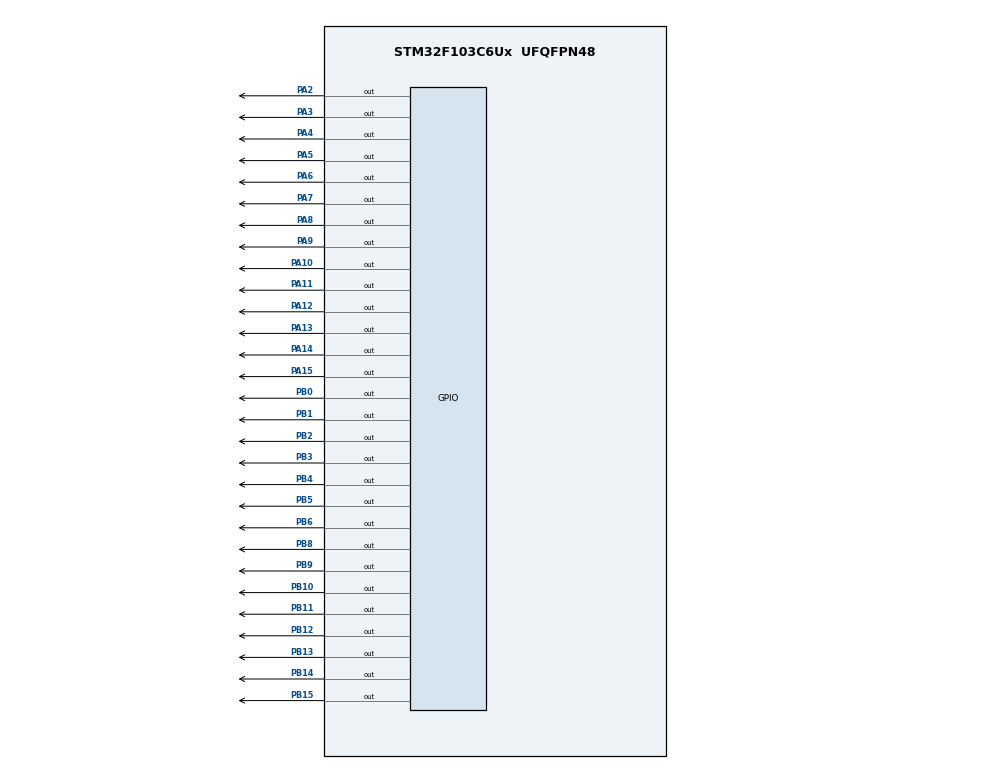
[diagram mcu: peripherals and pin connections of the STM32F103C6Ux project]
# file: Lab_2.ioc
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Mcu.Family=STM32F1
Mcu.Name=STM32F103C6Ux
Mcu.Package=UFQFPN48
NVIC.PriorityGroup=NVIC_PRIORITYGROUP_4
NVIC.TIM2_IRQn=true\:0\:0\:false\:false\:true\:true\:true
PA10.Signal=GPIO_Output
PA11.Signal=GPIO_Output
PA12.Signal=GPIO_Output
PA13.Signal=GPIO_Output
PA14.Signal=GPIO_Output
PA15.Signal=GPIO_Output
PA2.Signal=GPIO_Output
PA3.Signal=GPIO_Output
PA4.Signal=GPIO_Output
PA5.Signal=GPIO_Output
PA6.Signal=GPIO_Output
PA7.Signal=GPIO_Output
PA8.Signal=GPIO_Output
PA9.Signal=GPIO_Output
PB0.Signal=GPIO_Output
PB1.Signal=GPIO_Output
PB10.Signal=GPIO_Output
PB11.Signal=GPIO_Output
PB12.Signal=GPIO_Output
PB13.Signal=GPIO_Output
PB14.Signal=GPIO_Output
PB15.Signal=GPIO_Output
PB2.Signal=GPIO_Output
PB3.Signal=GPIO_Output
PB4.Signal=GPIO_Output
PB5.Signal=GPIO_Output
PB6.Signal=GPIO_Output
PB8.Signal=GPIO_Output
PB9.Signal=GPIO_Output
ProjectManager.HeapSize=0x200
ProjectManager.StackSize=0x400
ProjectManager.TargetToolchain=STM32CubeIDE
RCC.APB1Freq_Value=8000000
RCC.APB2Freq_Value=8000000
TIM2.Period=9
TIM2.Prescaler=7999
VP_SYS_VS_ND.Mode=No_Debug
VP_TIM2_VS_ClockSourceINT.Mode=Internal
board=custom

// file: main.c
/* USER CODE BEGIN Header */
/**
  ******************************************************************************
  * @file           : main.c
  * @brief          : Main program body
  ******************************************************************************
  * @attention
  *
  * <h2><center>&copy; Copyright (c) 2024 STMicroelectronics.
  * All rights reserved.</center></h2>
  *
  * This software component is licensed by ST under BSD 3-Clause license,
  * the "License"; You may not use this file except in compliance with the
  * License. You may obtain a copy of the License at:
  *                        opensource.org/licenses/BSD-3-Clause
  *
  ******************************************************************************
  */
/* USER CODE END Header */
#include "main.h"

TIM_HandleTypeDef htim2;

void SystemClock_Config(void);
static void MX_GPIO_Init(void);
static void MX_TIM2_Init(void);

/* USER CODE BEGIN 0 */
void display7SEG(int num){
	if (num == 0){
		HAL_GPIO_WritePin(GPIOB, GPIO_PIN_0, RESET);
		HAL_GPIO_WritePin(GPIOB, GPIO_PIN_1, RESET);
		HAL_GPIO_WritePin(GPIOB, GPIO_PIN_2, RESET);
		HAL_GPIO_WritePin(GPIOB, GPIO_PIN_3, RESET);
		HAL_GPIO_WritePin(GPIOB, GPIO_PIN_4, RESET);
		HAL_GPIO_WritePin(GPIOB, GPIO_PIN_5, RESET);
		HAL_GPIO_WritePin(GPIOB, GPIO_PIN_6, SET);
	}else if (num == 1){
		HAL_GPIO_WritePin(GPIOB, GPIO_PIN_0, SET);
		HAL_GPIO_WritePin(GPIOB, GPIO_PIN_1, RESET);
		HAL_GPIO_WritePin(GPIOB, GPIO_PIN_2, RESET);
		HAL_GPIO_WritePin(GPIOB, GPIO_PIN_3, SET);
		HAL_GPIO_WritePin(GPIOB, GPIO_PIN_4, SET);
		HAL_GPIO_WritePin(GPIOB, GPIO_PIN_5, SET);
		HAL_GPIO_WritePin(GPIOB, GPIO_PIN_6, SET);
	}else if (num == 2){
		HAL_GPIO_WritePin(GPIOB, GPIO_PIN_0, RESET);
		HAL_GPIO_WritePin(GPIOB, GPIO_PIN_1, RESET);
		HAL_GPIO_WritePin(GPIOB, GPIO_PIN_2, SET);
		HAL_GPIO_WritePin(GPIOB, GPIO_PIN_3, RESET);
		HAL_GPIO_WritePin(GPIOB, GPIO_PIN_4, RESET);
		HAL_GPIO_WritePin(GPIOB, GPIO_PIN_5, SET);
		HAL_GPIO_WritePin(GPIOB, GPIO_PIN_6, RESET);
	}else if (num == 3){
		HAL_GPIO_WritePin(GPIOB, GPIO_PIN_0, RESET);
		HAL_GPIO_WritePin(GPIOB, GPIO_PIN_1, RESET);
		HAL_GPIO_WritePin(GPIOB, GPIO_PIN_2, RESET);
		HAL_GPIO_WritePin(GPIOB, GPIO_PIN_3, RESET);
		HAL_GPIO_WritePin(GPIOB, GPIO_PIN_4, SET);
		HAL_GPIO_WritePin(GPIOB, GPIO_PIN_5, SET);
		HAL_GPIO_WritePin(GPIOB, GPIO_PIN_6, RESET);
	}else if (num == 4){
		HAL_GPIO_WritePin(GPIOB, GPIO_PIN_0, SET);
		HAL_GPIO_WritePin(GPIOB, GPIO_PIN_1, RESET);
		HAL_GPIO_WritePin(GPIOB, GPIO_PIN_2, RESET);
		HAL_GPIO_WritePin(GPIOB, GPIO_PIN_3, SET);
		HAL_GPIO_WritePin(GPIOB, GPIO_PIN_4, SET);
		HAL_GPIO_WritePin(GPIOB, GPIO_PIN_5, RESET);
		HAL_GPIO_WritePin(GPIOB, GPIO_PIN_6, RESET);
	}else if (num == 5){
		HAL_GPIO_WritePin(GPIOB, GPIO_PIN_0, RESET);
		HAL_GPIO_WritePin(GPIOB, GPIO_PIN_1, SET);
		HAL_GPIO_WritePin(GPIOB, GPIO_PIN_2, RESET);
		HAL_GPIO_WritePin(GPIOB, GPIO_PIN_3, RESET);
		HAL_GPIO_WritePin(GPIOB, GPIO_PIN_4, SET);
		HAL_GPIO_WritePin(GPIOB, GPIO_PIN_5, RESET);
		HAL_GPIO_WritePin(GPIOB, GPIO_PIN_6, RESET);
	}else if (num == 6){
		HAL_GPIO_WritePin(GPIOB, GPIO_PIN_0, RESET);
		HAL_GPIO_WritePin(GPIOB, GPIO_PIN_1, SET);
		HAL_GPIO_WritePin(GPIOB, GPIO_PIN_2, RESET);
		HAL_GPIO_WritePin(GPIOB, GPIO_PIN_3, RESET);
		HAL_GPIO_WritePin(GPIOB, GPIO_PIN_4, RESET);
		HAL_GPIO_WritePin(GPIOB, GPIO_PIN_5, RESET);
		HAL_GPIO_WritePin(GPIOB, GPIO_PIN_6, RESET);
	}else if (num == 7){
		HAL_GPIO_WritePin(GPIOB, GPIO_PIN_0, RESET);
		HAL_GPIO_WritePin(GPIOB, GPIO_PIN_1, RESET);
		HAL_GPIO_WritePin(GPIOB, GPIO_PIN_2, RESET);
		HAL_GPIO_WritePin(GPIOB, GPIO_PIN_3, SET);
		HAL_GPIO_WritePin(GPIOB, GPIO_PIN_4, SET);
		HAL_GPIO_WritePin(GPIOB, GPIO_PIN_5, SET);
		HAL_GPIO_WritePin(GPIOB, GPIO_PIN_6, SET);
	}else if (num == 8){
		HAL_GPIO_WritePin(GPIOB, GPIO_PIN_0, RESET);
		HAL_GPIO_WritePin(GPIOB, GPIO_PIN_1, RESET);
		HAL_GPIO_WritePin(GPIOB, GPIO_PIN_2, RESET);
		HAL_GPIO_WritePin(GPIOB, GPIO_PIN_3, RESET);
		HAL_GPIO_WritePin(GPIOB, GPIO_PIN_4, RESET);
		HAL_GPIO_WritePin(GPIOB, GPIO_PIN_5, RESET);
		HAL_GPIO_WritePin(GPIOB, GPIO_PIN_6, RESET);
	}else {
		HAL_GPIO_WritePin(GPIOB, GPIO_PIN_0, RESET);
		HAL_GPIO_WritePin(GPIOB, GPIO_PIN_1, RESET);
		HAL_GPIO_WritePin(GPIOB, GPIO_PIN_2, RESET);
		HAL_GPIO_WritePin(GPIOB, GPIO_PIN_3, RESET);
		HAL_GPIO_WritePin(GPIOB, GPIO_PIN_4, SET);
		HAL_GPIO_WritePin(GPIOB, GPIO_PIN_5, RESET);
		HAL_GPIO_WritePin(GPIOB, GPIO_PIN_6, RESET);
	}
}

int timer0_counter = 0;
int timer0_flag = 0;
int TIMER_CYCLE = 10;

void setTimer0(int duration){
	timer0_counter = duration / TIMER_CYCLE;
	timer0_flag = 0;
}

void timer_run(){
	if (timer0_counter > 0){
		timer0_counter--;
		if (timer0_counter == 0) timer0_flag = 1;
	}
}

void delay_with_timer(int delay_duration) {
    setTimer0(delay_duration);  // Set the delay in ms
    while (!timer0_flag);       // Wait until timer expires
    timer0_flag = 1;            // Reset the timer flag
}

  	const int MAX_LED = 4;
  	int index_led = 0;
  	int led_buffer[4] = {1, 2, 3, 4};
  	void update7SEG(int index){
  		switch (index){
  		case 0:
  			display7SEG(led_buffer[0]);
  			break;
  		case 1:
  			display7SEG(led_buffer[1]);
  			break;
  		case 2:
  			display7SEG(led_buffer[2]);
  			break;
  		case 3:
  			display7SEG(led_buffer[3]);
  			break;
  		default:
  			break;
  		}
  	}

  	void setRow(int row) {
  	    // Reset all rows (deactivate them) by pulling the GPIO pins to LOW
  	    HAL_GPIO_WritePin(GPIOA, GPIO_PIN_2, RESET);
  	    HAL_GPIO_WritePin(GPIOA, GPIO_PIN_3, RESET);
  	    HAL_GPIO_WritePin(GPIOA, GPIO_PIN_10, RESET);
  	    HAL_GPIO_WritePin(GPIOA, GPIO_PIN_11, RESET);
  	    HAL_GPIO_WritePin(GPIOA, GPIO_PIN_12, RESET);
  	    HAL_GPIO_WritePin(GPIOA, GPIO_PIN_13, RESET);
  	    HAL_GPIO_WritePin(GPIOA, GPIO_PIN_14, RESET);
  	    HAL_GPIO_WritePin(GPIOA, GPIO_PIN_15, RESET);

  	    // Set the specific row to HIGH (active) to enable it via ULN2803
  	    switch (row) {
  	        case 0:
  	            HAL_GPIO_WritePin(GPIOA, GPIO_PIN_2, SET);  // Activate Row 0
  	            break;
  	        case 1:
  	            HAL_GPIO_WritePin(GPIOA, GPIO_PIN_3, SET);  // Activate Row 1
  	            break;
  	        case 2:
  	            HAL_GPIO_WritePin(GPIOA, GPIO_PIN_10, SET); // Activate Row 2
  	            break;
  	        case 3:
  	            HAL_GPIO_WritePin(GPIOA, GPIO_PIN_11, SET); // Activate Row 3
  	            break;
  	        case 4:
  	            HAL_GPIO_WritePin(GPIOA, GPIO_PIN_12, SET); // Activate Row 4
  	            break;
  	        case 5:
  	            HAL_GPIO_WritePin(GPIOA, GPIO_PIN_13, SET); // Activate Row 5
  	            break;
  	        case 6:
  	            HAL_GPIO_WritePin(GPIOA, GPIO_PIN_14, SET); // Activate Row 6
  	            break;
  	        case 7:
  	            HAL_GPIO_WritePin(GPIOA, GPIO_PIN_15, SET); // Activate Row 7
  	            break;
  	        default:
  	            break;
  	    }
  	}

  	void displayLEDMatrix(uint8_t rowData) {
  	    // Set the column pins based on the rowData byte (assuming GPIOB is used for columns)
  	    HAL_GPIO_WritePin(GPIOB, GPIO_PIN_8, (rowData & 0x01) ? RESET : SET);  // Column 1
  	    HAL_GPIO_WritePin(GPIOB, GPIO_PIN_9, (rowData & 0x02) ? RESET : SET);  // Column 2
  	    HAL_GPIO_WritePin(GPIOB, GPIO_PIN_10, (rowData & 0x04) ? RESET : SET);  // Column 3
  	    HAL_GPIO_WritePin(GPIOB, GPIO_PIN_11, (rowData & 0x08) ? RESET : SET);  // Column 4
  	    HAL_GPIO_WritePin(GPIOB, GPIO_PIN_12, (rowData & 0x10) ? RESET : SET);  // Column 5
  	    HAL_GPIO_WritePin(GPIOB, GPIO_PIN_13, (rowData & 0x20) ? RESET : SET);  // Column 6
  	    HAL_GPIO_WritePin(GPIOB, GPIO_PIN_14, (rowData & 0x40) ? RESET : SET);  // Column 7
  	    HAL_GPIO_WritePin(GPIOB, GPIO_PIN_15, (rowData & 0x80) ? RESET : SET);  // Column 8
  	}

	const int MAX_LED_MATRIX = 8;
	int index_led_matrix = 0;
	uint8_t matrix_buffer[8] = {0xE7, 0xC3, 0x99, 0x99, 0x81, 0x99, 0x99, 0x99};
	void updateLEDMatrix(int index){
		 switch (index){
		 case 0:
			 displayLEDMatrix(matrix_buffer[0]);
			 break;
		 case 1:
			 displayLEDMatrix(matrix_buffer[1]);
			 break;
		 case 2:
			 displayLEDMatrix(matrix_buffer[2]);
			 break;
		 case 3:
			 displayLEDMatrix(matrix_buffer[3]);
			 break;
		 case 4:
			 displayLEDMatrix(matrix_buffer[4]);
			 break;
		 case 5:
			 displayLEDMatrix(matrix_buffer[5]);
			 break;
		 case 6:
			 displayLEDMatrix(matrix_buffer[6]);
			 break;
		 case 7:
			 displayLEDMatrix(matrix_buffer[7]);
			 break;
		 default:
			 break;
			 }
	}

	void scrollLeft(int speed) {
	    for (int shiftCount = 0; shiftCount < 8; shiftCount++) {
	        for (int step = 0; step < speed; step++) {
	            // Update the LED matrix to display the current state (no delay here)
	            for (int row = 0; row < 8; row++) {
	                setRow(row);
	                displayLEDMatrix(matrix_buffer[row]);
//	                HAL_Delay(1);  // Small delay for multiplexing effect
	                delay_with_timer(10);
	            }
	        }

	        // Shift the letter one column to the left after the "speed" iterations
	        for (int i = 0; i < 8; i++) {
	            // Save the rightmost bit (LSB) before shifting
	            uint8_t lsb = (matrix_buffer[i] & 0x01) ? 0x80 : 0;
	            matrix_buffer[i] >>= 1;  // Shift bits to the right

	            // Optionally wrap the rightmost bit to the leftmost position
	            matrix_buffer[i] |= lsb;
	        }
	    }
	}

/* USER CODE END 0 */

int main(void)
{

  /* MCU Configuration--------------------------------------------------------*/

  /* Reset of all peripherals, Initializes the Flash interface and the Systick. */
  HAL_Init();

  /* Configure the system clock */
  SystemClock_Config();

  /* Initialize all configured peripherals */
  MX_GPIO_Init();
  MX_TIM2_Init();
  /* USER CODE BEGIN 2 */
	HAL_TIM_Base_Start_IT(&htim2);
  /* USER CODE END 2 */

  /* Infinite loop */
  /* USER CODE BEGIN WHILE */
  	int hour = 15, minute = 8, second = 50;

  	// Function to update the clock buffer based on the current hour and minute
  	void updateClockBuffer() {
  	  	// Update the led_buffer with the digits of hour and minute
  	  	// First two digits for hour, last two digits for minute
  	  	led_buffer[0] = hour / 10;  // Tens place of hour
  	  	led_buffer[1] = hour % 10;  // Ones place of hour
  	  	led_buffer[2] = minute / 10;  // Tens place of minute
  	  	led_buffer[3] = minute % 10;  // Ones place of minute
  	 }

 setTimer0(10);
int counter = 0;
  while (1)
  {
    /* USER CODE END WHILE */

//	  for (int i = 0; i < 8; i++) {
//	          setRow(i);                            // Activate current row
//	          updateLEDMatrix(i);   // Set column data for that row
//	          HAL_Delay(1);                         // Short delay for multiplexing effect
//	      }

//	  if(timer0_flag == 1){
//		  scrollLeft(10);
//	  }

//	  if(timer0_flag == 1){
//		  for (int i = 0; i < 8; i++) {
//		          setRow(i);                            // Activate current row
//		          updateLEDMatrix(i);   // Set column data for that row
//		          delay_with_timer(10);
//		  }
//	  }

    /* USER CODE BEGIN 3 */

//	  if(timer0_flag == 1){
//
//	  	  if (counter == 0){
//	          setRow(counter);                            // Activate current row
//	          displayLEDMatrix(matrix_buffer[counter]);   // Set column data for that row
//	  	  		counter++;
//	  	  	}else if (counter == 1){
//		          setRow(counter);                            // Activate current row
//		          displayLEDMatrix(matrix_buffer[counter]);   // Set column data for that row
//	  	  		counter++;
//	  	  	}else if (counter == 2){
//		          setRow(counter);                            // Activate current row
//		          displayLEDMatrix(matrix_buffer[counter]);   // Set column data for that row
//	  	  		counter++;
//	  	  	}else if (counter == 3){
//		          setRow(counter);                            // Activate current row
//		          displayLEDMatrix(matrix_buffer[counter]);   // Set column data for that row
//	  	  		counter++;
//	  	  	}else if (counter == 4){
//		          setRow(counter);                            // Activate current row
//		          displayLEDMatrix(matrix_buffer[counter]);   // Set column data for that row
//	  	  		counter++;
//	  	  	}else if (counter == 5){
//		          setRow(counter);                            // Activate current row
//		          displayLEDMatrix(matrix_buffer[counter]);   // Set column data for that row
//	  	  		counter++;
//	  	  	}else if (counter == 6){
//		          setRow(counter);                            // Activate current row
//		          displayLEDMatrix(matrix_buffer[counter]);   // Set column data for that row
//	  	  		counter++;
//	  	  	}else if (counter == 7){
//		          setRow(counter);                            // Activate current row
//		          displayLEDMatrix(matrix_buffer[counter]);   // Set column data for that row
//	  	  		counter++;
//	  	  	}else if (counter == 8){
//	  	  		counter = 0;
//		          setRow(counter);                            // Activate current row
//		          displayLEDMatrix(matrix_buffer[counter]);   // Set column data for that row
//	  	  	}
//	  	setTimer0(10);
//  }
//	  if (counter == 0){
//	  		setRow(0);
//	  		counter++;
//	  	}else if (counter == 1){
//	  		setRow(1);
//	  		counter++;
//	  	}else if (counter == 2){
//	  		setRow(2);
//	  		counter++;
//	  	}else if (counter == 3){
//	  		setRow(3);
//	  		counter++;
//	  	}else if (counter == 4){
//	  		setRow(4);
//	  		counter++;
//	  	}else if (counter == 5){
//	  		setRow(5);
//	  		counter++;
//	  	}else if (counter == 6){
//	  		setRow(6);
//	  		counter++;
//	  	}else if (counter == 7){
//	  		setRow(7);
//	  		counter++;
//	  	}else if (counter == 8){
//	  		counter = 0;
//	  	}else {
//	  		counter++;
//	  	}

//		  setRow(0);
//		  setTimer0(100);

//		  second++;  // Increment seconds
//
//		      // Check if seconds roll over
//		      if (second >= 60) {
//		          second = 0;
//		          minute++;  // Increment minutes when seconds reach 60
//		      }
//
//		      // Check if minutes roll over
//		      if (minute >= 60) {
//		          minute = 0;
//		          hour++;  // Increment hours when minutes reach 60
//		      }
//
//		      // Check if hours roll over (24-hour format)
//		      if (hour >= 24) {
//		          hour = 0;
//		      }
//
////		       Update the clock buffer with the current time
//		      updateClockBuffer();
////		       HAL_Delay(1000);
//			  HAL_GPIO_TogglePin(GPIOA, GPIO_PIN_4);
//			  setTimer0(2000);

//		      update7SEG(0);
//		      HAL_GPIO_WritePin(GPIOA, GPIO_PIN_6, RESET);
//		      HAL_GPIO_WritePin(GPIOA, GPIO_PIN_7, SET);
//		      HAL_GPIO_WritePin(GPIOA, GPIO_PIN_8, SET);
//		      HAL_GPIO_WritePin(GPIOA, GPIO_PIN_9, SET);
//
//		      HAL_GPIO_TogglePin(GPIOA, GPIO_PIN_4);
//
//
//		      /////////////////////////////////////////////////
//		      update7SEG(1);
//		      HAL_GPIO_WritePin(GPIOA, GPIO_PIN_6, SET);
//		      HAL_GPIO_WritePin(GPIOA, GPIO_PIN_7, RESET);
//		      HAL_GPIO_WritePin(GPIOA, GPIO_PIN_8, SET);
//		      HAL_GPIO_WritePin(GPIOA, GPIO_PIN_9, SET);
//
//		      HAL_GPIO_TogglePin(GPIOA, GPIO_PIN_4);
//		      HAL_Delay(1000);
//
//		      /////////////////////////////////////////////////
//		      update7SEG(2);
//		      HAL_GPIO_WritePin(GPIOA, GPIO_PIN_6, SET);
//		      HAL_GPIO_WritePin(GPIOA, GPIO_PIN_7, SET);
//		      HAL_GPIO_WritePin(GPIOA, GPIO_PIN_8, RESET);
//		      HAL_GPIO_WritePin(GPIOA, GPIO_PIN_9, SET);
//
//		      HAL_GPIO_TogglePin(GPIOA, GPIO_PIN_4);
//		      HAL_Delay(1000);
//
//		      /////////////////////////////////////////////////
//		      update7SEG(3);
//		      HAL_GPIO_WritePin(GPIOA, GPIO_PIN_6, SET);
//		      HAL_GPIO_WritePin(GPIOA, GPIO_PIN_7, SET);
//		      HAL_GPIO_WritePin(GPIOA, GPIO_PIN_8, SET);
//		      HAL_GPIO_WritePin(GPIOA, GPIO_PIN_9, RESET);
//
//		      HAL_GPIO_TogglePin(GPIOA, GPIO_PIN_4);
//		      HAL_Delay(1000);
//
//		      ///////////////////////////////////////////////

//	  setRow(0);
//	  setRow(1);

//	  for (int i = 0; i < 8; i++) {
//		  setRow(i);
//		  updateLEDMatrix(i);
//		  HAL_Delay(1000);
//		  setTimer0(2000);
//	  }

//	  updateLEDMatrix(i);

//	      for (int i = 0; i < 8; i++) {
//	          // Select the row (you will need additional logic to drive the row pins)
//	    	  setRow(i);
//	          // Display the data for the selected row from the buffer
//	    	  updateLEDMatrix(i);
//
//	          // Small delay to allow multiplexing effect
//	    	  HAL_Delay(1000);
//	    	  setTimer0(20000);
//	      }

//	  if(timer0_flag == 1){
//	  		  second++;  // Increment seconds
//
//	  		      // Check if seconds roll over
//	  		      if (second >= 60) {
//	  		          second = 0;
//	  		          minute++;  // Increment minutes when seconds reach 60
//	  		      }
//
//	  		      // Check if minutes roll over
//	  		      if (minute >= 60) {
//	  		          minute = 0;
//	  		          hour++;  // Increment hours when minutes reach 60
//	  		      }
//
//	  		      // Check if hours roll over (24-hour format)
//	  		      if (hour >= 24) {
//	  		          hour = 0;
//	  		      }
//
//	  		      // Update the clock buffer with the current time
//	  		      updateClockBuffer();
//	  	  	  	  HAL_Delay(1000);
//
//	  		      update7SEG(0);
//	  		      HAL_GPIO_WritePin(GPIOA, GPIO_PIN_6, RESET);
//	  		      HAL_GPIO_WritePin(GPIOA, GPIO_PIN_7, SET);
//	  		      HAL_GPIO_WritePin(GPIOA, GPIO_PIN_8, SET);
//	  		      HAL_GPIO_WritePin(GPIOA, GPIO_PIN_9, SET);
//
//	  		      HAL_GPIO_TogglePin(GPIOA, GPIO_PIN_4);
//	  		      HAL_Delay(1000);
//
//	  		      /////////////////////////////////////////////////
//
//	  		      update7SEG(1);
//	  		      HAL_GPIO_WritePin(GPIOA, GPIO_PIN_6, SET);
//	  		      HAL_GPIO_WritePin(GPIOA, GPIO_PIN_7, RESET);
//	  		      HAL_GPIO_WritePin(GPIOA, GPIO_PIN_8, SET);
//	  		      HAL_GPIO_WritePin(GPIOA, GPIO_PIN_9, SET);
//
//	  		      HAL_GPIO_TogglePin(GPIOA, GPIO_PIN_4);
//	  		      HAL_Delay(1000);
//
//	  		      /////////////////////////////////////////////////
//
//	  		      update7SEG(2);
//	  		      HAL_GPIO_WritePin(GPIOA, GPIO_PIN_6, SET);
//	  		      HAL_GPIO_WritePin(GPIOA, GPIO_PIN_7, SET);
//	  		      HAL_GPIO_WritePin(GPIOA, GPIO_PIN_8, RESET);
//	  		      HAL_GPIO_WritePin(GPIOA, GPIO_PIN_9, SET);
//
//	  		      HAL_GPIO_TogglePin(GPIOA, GPIO_PIN_4);
//	  		      HAL_Delay(1000);
//
//	  		      /////////////////////////////////////////////////
//
//	  		      update7SEG(3);
//	  		      HAL_GPIO_WritePin(GPIOA, GPIO_PIN_6, SET);
//	  		      HAL_GPIO_WritePin(GPIOA, GPIO_PIN_7, SET);
//	  		      HAL_GPIO_WritePin(GPIOA, GPIO_PIN_8, SET);
//	  		      HAL_GPIO_WritePin(GPIOA, GPIO_PIN_9, RESET);
//
//	  		      HAL_GPIO_TogglePin(GPIOA, GPIO_PIN_4);
//	  		      HAL_Delay(1000);
//
//	  		      /////////////////////////////////////////////////
//	  	   }

}

  /* USER CODE END 3 */
}

void SystemClock_Config(void)
{
  RCC_OscInitTypeDef RCC_OscInitStruct = {0};
  RCC_ClkInitTypeDef RCC_ClkInitStruct = {0};

  /** Initializes the RCC Oscillators according to the specified parameters
  * in the RCC_OscInitTypeDef structure.
  */
  RCC_OscInitStruct.OscillatorType = RCC_OSCILLATORTYPE_HSI;
  RCC_OscInitStruct.HSIState = RCC_HSI_ON;
  RCC_OscInitStruct.HSICalibrationValue = RCC_HSICALIBRATION_DEFAULT;
  RCC_OscInitStruct.PLL.PLLState = RCC_PLL_NONE;
  if (HAL_RCC_OscConfig(&RCC_OscInitStruct) != HAL_OK)
  {
    Error_Handler();
  }
  /** Initializes the CPU, AHB and APB buses clocks
  */
  RCC_ClkInitStruct.ClockType = RCC_CLOCKTYPE_HCLK|RCC_CLOCKTYPE_SYSCLK
                              |RCC_CLOCKTYPE_PCLK1|RCC_CLOCKTYPE_PCLK2;
  RCC_ClkInitStruct.SYSCLKSource = RCC_SYSCLKSOURCE_HSI;
  RCC_ClkInitStruct.AHBCLKDivider = RCC_SYSCLK_DIV1;
  RCC_ClkInitStruct.APB1CLKDivider = RCC_HCLK_DIV1;
  RCC_ClkInitStruct.APB2CLKDivider = RCC_HCLK_DIV1;

  if (HAL_RCC_ClockConfig(&RCC_ClkInitStruct, FLASH_LATENCY_0) != HAL_OK)
  {
    Error_Handler();
  }
}

static void MX_TIM2_Init(void)
{

  TIM_ClockConfigTypeDef sClockSourceConfig = {0};
  TIM_MasterConfigTypeDef sMasterConfig = {0};

  htim2.Instance = TIM2;
  htim2.Init.Prescaler = 7999;
  htim2.Init.CounterMode = TIM_COUNTERMODE_UP;
  htim2.Init.Period = 9;
  htim2.Init.ClockDivision = TIM_CLOCKDIVISION_DIV1;
  htim2.Init.AutoReloadPreload = TIM_AUTORELOAD_PRELOAD_DISABLE;
  if (HAL_TIM_Base_Init(&htim2) != HAL_OK)
  {
    Error_Handler();
  }
  sClockSourceConfig.ClockSource = TIM_CLOCKSOURCE_INTERNAL;
  if (HAL_TIM_ConfigClockSource(&htim2, &sClockSourceConfig) != HAL_OK)
  {
    Error_Handler();
  }
  sMasterConfig.MasterOutputTrigger = TIM_TRGO_RESET;
  sMasterConfig.MasterSlaveMode = TIM_MASTERSLAVEMODE_DISABLE;
  if (HAL_TIMEx_MasterConfigSynchronization(&htim2, &sMasterConfig) != HAL_OK)
  {
    Error_Handler();
  }

}

static void MX_GPIO_Init(void)
{
  GPIO_InitTypeDef GPIO_InitStruct = {0};

  /* GPIO Ports Clock Enable */
  __HAL_RCC_GPIOA_CLK_ENABLE();
  __HAL_RCC_GPIOB_CLK_ENABLE();

  /*Configure GPIO pin Output Level */
  HAL_GPIO_WritePin(GPIOA, GPIO_PIN_2|GPIO_PIN_3|GPIO_PIN_4|GPIO_PIN_5
                          |GPIO_PIN_6|GPIO_PIN_7|GPIO_PIN_8|GPIO_PIN_9
                          |GPIO_PIN_10|GPIO_PIN_11|GPIO_PIN_12|GPIO_PIN_13
                          |GPIO_PIN_14|GPIO_PIN_15, GPIO_PIN_RESET);

  /*Configure GPIO pin Output Level */
  HAL_GPIO_WritePin(GPIOB, GPIO_PIN_0|GPIO_PIN_1|GPIO_PIN_2|GPIO_PIN_10
                          |GPIO_PIN_11|GPIO_PIN_12|GPIO_PIN_13|GPIO_PIN_14
                          |GPIO_PIN_15|GPIO_PIN_3|GPIO_PIN_4|GPIO_PIN_5
                          |GPIO_PIN_6|GPIO_PIN_8|GPIO_PIN_9, GPIO_PIN_RESET);

  /*Configure GPIO pins : PA2 PA3 PA4 PA5
                           PA6 PA7 PA8 PA9
                           PA10 PA11 PA12 PA13
                           PA14 PA15 */
  GPIO_InitStruct.Pin = GPIO_PIN_2|GPIO_PIN_3|GPIO_PIN_4|GPIO_PIN_5
                          |GPIO_PIN_6|GPIO_PIN_7|GPIO_PIN_8|GPIO_PIN_9
                          |GPIO_PIN_10|GPIO_PIN_11|GPIO_PIN_12|GPIO_PIN_13
                          |GPIO_PIN_14|GPIO_PIN_15;
  GPIO_InitStruct.Mode = GPIO_MODE_OUTPUT_PP;
  GPIO_InitStruct.Pull = GPIO_NOPULL;
  GPIO_InitStruct.Speed = GPIO_SPEED_FREQ_LOW;
  HAL_GPIO_Init(GPIOA, &GPIO_InitStruct);

  /*Configure GPIO pins : PB0 PB1 PB2 PB10
                           PB11 PB12 PB13 PB14
                           PB15 PB3 PB4 PB5
                           PB6 PB8 PB9 */
  GPIO_InitStruct.Pin = GPIO_PIN_0|GPIO_PIN_1|GPIO_PIN_2|GPIO_PIN_10
                          |GPIO_PIN_11|GPIO_PIN_12|GPIO_PIN_13|GPIO_PIN_14
                          |GPIO_PIN_15|GPIO_PIN_3|GPIO_PIN_4|GPIO_PIN_5
                          |GPIO_PIN_6|GPIO_PIN_8|GPIO_PIN_9;
  GPIO_InitStruct.Mode = GPIO_MODE_OUTPUT_PP;
  GPIO_InitStruct.Pull = GPIO_NOPULL;
  GPIO_InitStruct.Speed = GPIO_SPEED_FREQ_LOW;
  HAL_GPIO_Init(GPIOB, &GPIO_InitStruct);

}

/* USER CODE BEGIN 4 */
//int counter = 0;
//int counter_led = 0;
//void HAL_TIM_PeriodElapsedCallback(TIM_HandleTypeDef *htim)
//{
//	 timer_run();
//
////	if (counter == 0){
////
////  		  counter++;
////  	  }else if (counter == 100){
////  		  update7SEG(1);
////  		  HAL_GPIO_WritePin(GPIOA, GPIO_PIN_6, SET);
////  		  HAL_GPIO_WritePin(GPIOA, GPIO_PIN_7, RESET);
////  		  HAL_GPIO_WritePin(GPIOA, GPIO_PIN_8, SET);
////  		  HAL_GPIO_WritePin(GPIOA, GPIO_PIN_9, SET);
////  		  counter++;
////  	  }else if (counter == 200){
////  		  update7SEG(2);
////  		  HAL_GPIO_WritePin(GPIOA, GPIO_PIN_6, SET);
////  		  HAL_GPIO_WritePin(GPIOA, GPIO_PIN_7, SET);
////  		  HAL_GPIO_WritePin(GPIOA, GPIO_PIN_8, RESET);
////  		  HAL_GPIO_WritePin(GPIOA, GPIO_PIN_9, SET);
////  		  counter++;
////  	  }else if (counter == 300){
////  		  update7SEG(3);
////  		  HAL_GPIO_WritePin(GPIOA, GPIO_PIN_6, SET);
////  		  HAL_GPIO_WritePin(GPIOA, GPIO_PIN_7, SET);
////  		  HAL_GPIO_WritePin(GPIOA, GPIO_PIN_8, SET);
////  		  HAL_GPIO_WritePin(GPIOA, GPIO_PIN_9, RESET);
////  		  counter++;
////  	  }else if(counter == 400){
////  		  counter = 0;
////  	  }else {
////  		counter++;
////  	  }
//
//
//////////////////////////////////////////////////////////////////
//		EX 3
////
////	if (counter == 0){
////			update7SEG(0);
////  		  HAL_GPIO_WritePin(GPIOA, GPIO_PIN_6, RESET);
////  		  HAL_GPIO_WritePin(GPIOA, GPIO_PIN_7, SET);
////  		  HAL_GPIO_WritePin(GPIOA, GPIO_PIN_8, SET);
////  		  HAL_GPIO_WritePin(GPIOA, GPIO_PIN_9, SET);
////  		  counter++;
////  	  }else if (counter == 100){
////  		  update7SEG(1);
////  		  HAL_GPIO_WritePin(GPIOA, GPIO_PIN_6, SET);
////  		  HAL_GPIO_WritePin(GPIOA, GPIO_PIN_7, RESET);
////  		  HAL_GPIO_WritePin(GPIOA, GPIO_PIN_8, SET);
////  		  HAL_GPIO_WritePin(GPIOA, GPIO_PIN_9, SET);
////  		  counter++;
////  	  }else if (counter == 200){
////  		  update7SEG(2);
////  		  HAL_GPIO_WritePin(GPIOA, GPIO_PIN_6, SET);
////  		  HAL_GPIO_WritePin(GPIOA, GPIO_PIN_7, SET);
////  		  HAL_GPIO_WritePin(GPIOA, GPIO_PIN_8, RESET);
////  		  HAL_GPIO_WritePin(GPIOA, GPIO_PIN_9, SET);
////  		  counter++;
////  	  }else if (counter == 300){
////  		  update7SEG(3);
////  		  HAL_GPIO_WritePin(GPIOA, GPIO_PIN_6, SET);
////  		  HAL_GPIO_WritePin(GPIOA, GPIO_PIN_7, SET);
////  		  HAL_GPIO_WritePin(GPIOA, GPIO_PIN_8, SET);
////  		  HAL_GPIO_WritePin(GPIOA, GPIO_PIN_9, RESET);
////  		  counter++;
////  	  }else if(counter == 400){
////  		  counter = 0;
////  	  }else {
////  		counter++;
////  	  }
/////////////////////////////////////////////////////////////////////////////////
////	if (counter_led == 0){
////		HAL_GPIO_WritePin(GPIOA, GPIO_PIN_4, RESET);
////		counter_led++;
////	}else if (counter_led == 100){
////		HAL_GPIO_WritePin(GPIOA, GPIO_PIN_4, SET);
////		counter_led++;
////	}else if (counter_led == 200){
////		counter_led = 0;
////	}else {
////		counter_led++;
////	}
//
//
//}

//	EX 2
int counter = 0;
int counter_led = 0;
void HAL_TIM_PeriodElapsedCallback(TIM_HandleTypeDef *htim)
{
	if (counter == 0){
  		  display7SEG(1);
  		  HAL_GPIO_WritePin(GPIOA, GPIO_PIN_6, RESET);
  		  HAL_GPIO_WritePin(GPIOA, GPIO_PIN_7, SET);
  		  HAL_GPIO_WritePin(GPIOA, GPIO_PIN_8, SET);
  		  HAL_GPIO_WritePin(GPIOA, GPIO_PIN_9, SET);
  		  counter++;
  	  }else if (counter == 50){
  		  display7SEG(2);
  		  HAL_GPIO_WritePin(GPIOA, GPIO_PIN_6, SET);
  		  HAL_GPIO_WritePin(GPIOA, GPIO_PIN_7, RESET);
  		  HAL_GPIO_WritePin(GPIOA, GPIO_PIN_8, SET);
  		  HAL_GPIO_WritePin(GPIOA, GPIO_PIN_9, SET);
  		  counter++;
  	  }else if (counter == 100){
  		  display7SEG(3);
  		  HAL_GPIO_WritePin(GPIOA, GPIO_PIN_6, SET);
  		  HAL_GPIO_WritePin(GPIOA, GPIO_PIN_7, SET);
  		  HAL_GPIO_WritePin(GPIOA, GPIO_PIN_8, RESET);
  		  HAL_GPIO_WritePin(GPIOA, GPIO_PIN_9, SET);
  		  counter++;
  	  }else if (counter == 150){
  		  display7SEG(0);
  		  HAL_GPIO_WritePin(GPIOA, GPIO_PIN_6, SET);
  		  HAL_GPIO_WritePin(GPIOA, GPIO_PIN_7, SET);
  		  HAL_GPIO_WritePin(GPIOA, GPIO_PIN_8, SET);
  		  HAL_GPIO_WritePin(GPIOA, GPIO_PIN_9, RESET);
  		  counter++;
  	  }else if(counter == 200){
  		  counter = 0;
  	  }else {
  		counter++;
  	  }
/////////////////////////////////////////////////////////////////////////////
	if (counter_led == 0){
		HAL_GPIO_WritePin(GPIOA, GPIO_PIN_4, RESET);
		counter_led++;
	}else if (counter_led == 100){
		HAL_GPIO_WritePin(GPIOA, GPIO_PIN_4, SET);
		counter_led++;
	}else if (counter_led == 200){
		counter_led = 0;
	}else {
		counter_led++;
	}
}

/* USER CODE END 4 */

void Error_Handler(void)
{
  __disable_irq();
  while (1)
  {
  }
}

/************************ (C) COPYRIGHT STMicroelectronics *****END OF FILE****/
